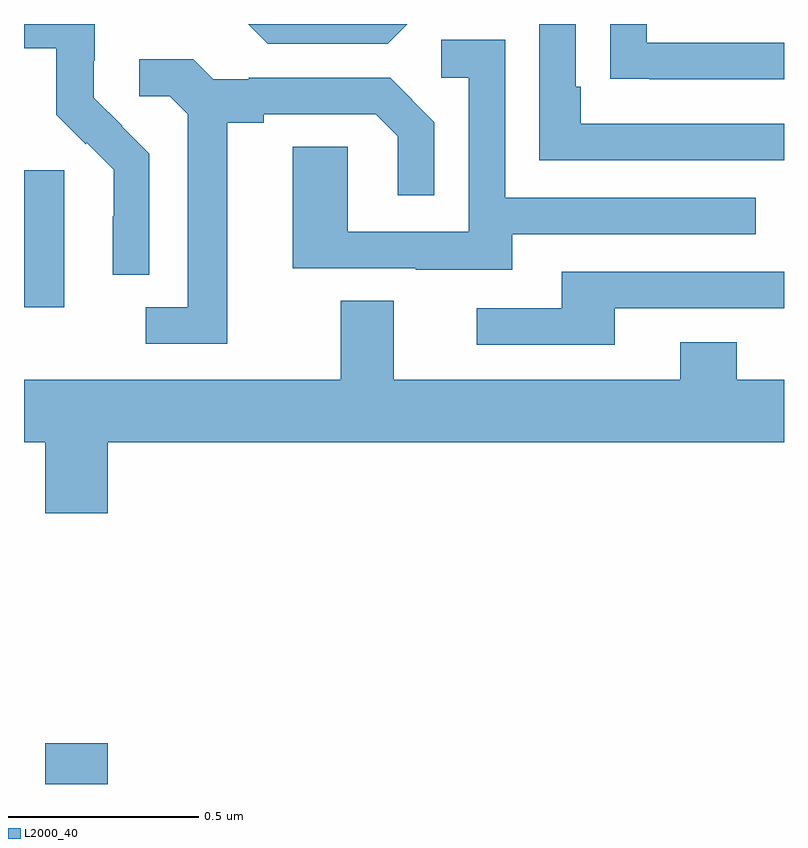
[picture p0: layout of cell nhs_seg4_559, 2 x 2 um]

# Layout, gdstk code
import gdstk
lib = gdstk.Library(unit=1e-6, precision=1e-09)
def R(c, l, rs):  # rectangles x0, y0, x1, y1
    for r in rs: c.add(gdstk.rectangle(r[:2], r[2:], *l))
def P(c, l, *ps):  # polygons
    for p in ps: c.add(gdstk.Polygon(p, *l))
L2000_40 = (2000, 40)

nhs_seg4_559 = lib.new_cell('nhs_seg4_559')
R(nhs_seg4_559, L2000_40, [(117.056,815.9,117.22,816.007), (117,817.154,117.106,817.515)])
P(nhs_seg4_559, L2000_40, [(119,817.851),(118.639,817.851),(118.639,817.9),(118.543,817.9),(118.543,817.756),(118.645,817.756),(118.645,817.755),(119,817.755)],
  [(117.33,817.558),(117.257,817.631),(117.258,817.632),(117.184,817.706),(117.184,817.803),(117.186,817.803),(117.186,817.9),(117,817.9),(117,817.836),(117.085,817.836),(117.085,817.661),(117.162,817.584),(117.165,817.587),(117.236,817.517),(117.236,817.394),(117.234,817.394),(117.234,817.24),(117.33,817.24)],
  [(118.009,817.9),(117.59,817.9),(117.642,817.848),(117.957,817.848)],
  [(119,817.638),(118.465,817.638),(118.465,817.735),(118.452,817.735),(118.452,817.9),(118.356,817.9),(118.356,817.542),(119,817.542)],
  [(118.285,817.347),(118.925,817.347),(118.925,817.443),(118.266,817.443),(118.266,817.859),(118.098,817.859),(118.098,817.758),(118.17,817.758),(118.17,817.353),(117.852,817.353),(117.852,817.577),(117.707,817.577),(117.707,817.257),(118.031,817.257),(118.031,817.253),(118.285,817.253)],
  [(117.535,817.64),(117.631,817.64),(117.631,817.662),(117.926,817.662),(117.983,817.605),(117.983,817.449),(118.08,817.449),(118.08,817.642),(117.964,817.758),(117.592,817.758),(117.592,817.755),(117.498,817.755),(117.446,817.807),(117.303,817.807),(117.303,817.71),(117.384,817.71),(117.431,817.663),(117.431,817.155),(117.321,817.155),(117.321,817.059),(117.535,817.059)],
  [(118.555,817.152),(119,817.152),(119,817.248),(118.415,817.248),(118.415,817.152),(118.191,817.152),(118.191,817.056),(118.555,817.056)],
  [(117.22,816.8),(119,816.8),(119,816.964),(118.875,816.964),(118.875,817.063),(118.727,817.063),(118.727,816.964),(117.973,816.964),(117.973,817.172),(117.833,817.172),(117.833,816.964),(117,816.964),(117,816.8),(117.056,816.8),(117.056,816.612),(117.22,816.612)])

lib.write_gds('nhs_seg4_559.gds')
